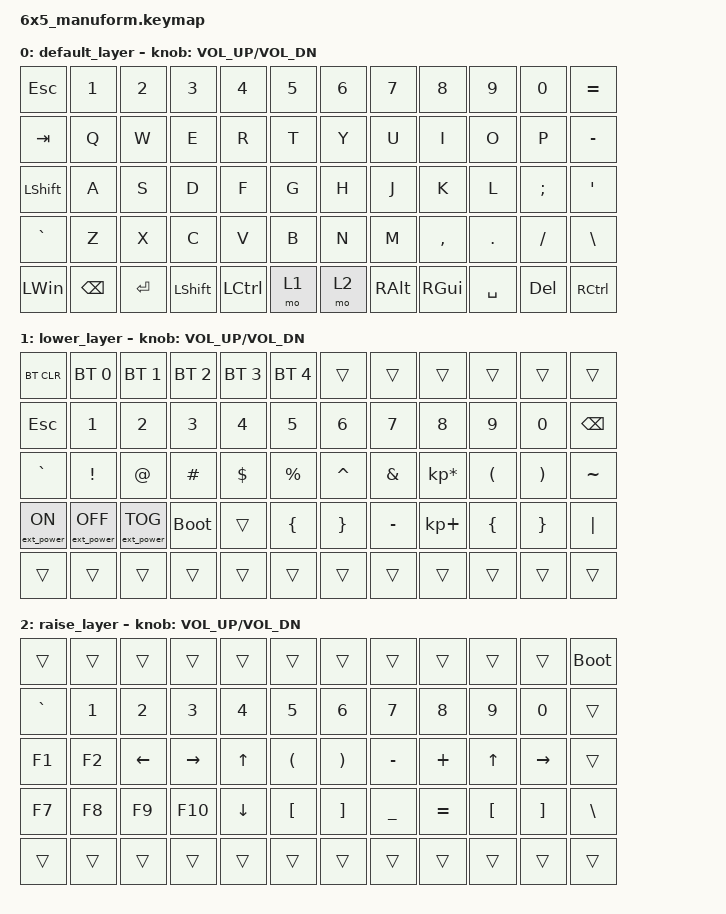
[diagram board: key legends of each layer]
/*
 * Copyright (c) 2020 The ZMK Contributors
 *
 * SPDX-License-Identifier: MIT
 */

#include <behaviors.dtsi>
#include <dt-bindings/zmk/bt.h>
#include <dt-bindings/zmk/ext_power.h>
#include <dt-bindings/zmk/keys.h>

/ {
    keymap {
        compatible = "zmk,keymap";

        default_layer {
            // ------------------------------------------------------------------------------------------------------------
            // |  ESC   |  1  |  2  |  3   |  4   |  5   |                    |  6   |  7    |  8    |  9   |   0   |   `   |
            // |  TAB   |  Q  |  W  |  E   |  R   |  T   |                    |  Y   |  U    |  I    |  O   |   P   |   -   |
            // |  CTRL  |  A  |  S  |  D   |  F   |  G   |                    |  H   |  J    |  K    |  L   |   ;   |   '   |
            // | SHIFT  |  Z  |  X  |  C   |  V   |  B   |                    |  N   |  M    |  ,    |  .   |   /   | SHIFT |
            // |    2   |  2  | f   | 6    | 4    | 1    |                    | 2    | 1     | w     | s    | n     |  a    |

            bindings = <
&kp ESC       &kp N1    &kp N2   &kp N3     &kp N4            &kp N5  &kp N6  &kp N7         &kp N8     &kp N9     &kp N0    &kp EQUAL
&kp TAB       &kp Q     &kp W    &kp E      &kp R             &kp T   &kp Y   &kp U          &kp I      &kp O      &kp P     &kp MINUS
&kp LSHFT     &kp A     &kp S    &kp D      &kp F             &kp G   &kp H   &kp J          &kp K      &kp L      &kp SEMI  &kp SQT
&kp GRAVE     &kp Z     &kp X    &kp C      &kp V             &kp B   &kp N   &kp M          &kp COMMA  &kp DOT    &kp FSLH  &kp BSLH
&kp LEFT_WIN  &kp BSPC  &kp RET  &kp LSHFT  &kp LEFT_CONTROL  &mo 1   &mo 2   &kp RIGHT_ALT  &kp RGUI   &kp SPACE  &kp DEL   &kp RCTRL
            >;

            sensor-bindings = <&inc_dec_kp C_VOL_UP C_VOL_DN>;
        };

        lower_layer {
            // ------------------------------------------------------------------------------------------------------------
            // | BTCLR | BT1 | BT2 |  BT3 |  BT4 |  BT5 |                   |      |       |       |      |       |       |
            // |  F1   |  F2 |  F3 |  F4  |  F5  |  F6  |                   |  F7  |  F8   |  F9   |  F10 |  F11  |  F12  |
            // |   `   |  !  |  @  |  #   |  $   |  %   |                   |  ^   |  &    |  *    |  (   |   )   |   ~   |
            // |       |     |     |      |      |      |                   |      |  _    |  +    |  {   |   }   |  "|"  |
            // |       |     |     |      |      |      |                   |      |       |       |      |       |       |

            bindings = <
&bt BT_CLR        &bt BT_SEL 0       &bt BT_SEL 1       &bt BT_SEL 2  &bt BT_SEL 3  &bt BT_SEL 4    &trans           &trans     &trans           &trans    &trans    &trans
&kp ESCAPE        &kp NUMBER_1       &kp NUMBER_2       &kp NUMBER_3  &kp NUMBER_4  &kp N5          &kp NUMBER_6     &kp N7     &kp N8           &kp N9    &kp N0    &kp BACKSPACE
&kp GRAVE         &kp EXCL           &kp AT             &kp HASH      &kp DOLLAR    &kp PRCNT       &kp CARET        &kp AMPS   &kp KP_MULTIPLY  &kp LPAR  &kp RPAR  &kp TILDE
&ext_power EP_ON  &ext_power EP_OFF  &ext_power EP_TOG  &bootloader   &trans        &kp LEFT_BRACE  &kp RIGHT_BRACE  &kp MINUS  &kp KP_PLUS      &kp LBRC  &kp RBRC  &kp PIPE
&trans            &trans             &trans             &trans        &trans        &trans          &trans           &trans     &trans           &trans    &trans    &trans
            >;

            sensor-bindings = <&inc_dec_kp C_VOL_UP C_VOL_DN>;
        };

        raise_layer {
            // ------------------------------------------------------------------------------------------------------------
            // |       |     |     |      |      |      |                   |      |       |       |      |       |       |
            // |   `   |  1  |  2  |  3   |  4   |  5   |                   |  6   |   7   |   8   |  9   |   0   |       |
            // |   F1  |  F2 |  F3 |  F4  |  F5  |  F6  |                   |      |   <-  |   v   |  ^   |  ->   |       |
            // |   F7  |  F8 |  F9 |  F10 |  F11 |  F12 |		             |  +   |   -   |   =   |  [   |   ]   |   \   |
            // |     |     |      |      |      |        |                   |       |      |       |       |      |       |

            bindings = <
&trans     &trans  &trans          &trans           &trans          &trans                &trans                 &trans          &trans     &trans    &trans     &bootloader
&kp GRAVE  &kp N1  &kp N2          &kp N3           &kp N4          &kp N5                &kp N6                 &kp N7          &kp N8     &kp N9    &kp N0     &trans
&kp F1     &kp F2  &kp LEFT_ARROW  &kp RIGHT_ARROW  &kp UP_ARROW    &kp LEFT_PARENTHESIS  &kp RIGHT_PARENTHESIS  &kp MINUS       &kp PLUS   &kp UP    &kp RIGHT  &trans
&kp F7     &kp F8  &kp F9          &kp F10          &kp DOWN_ARROW  &kp LEFT_BRACKET      &kp RIGHT_BRACKET      &kp UNDERSCORE  &kp EQUAL  &kp LBKT  &kp RBKT   &kp BSLH
&trans     &trans  &trans          &trans           &trans          &trans                &trans                 &trans          &trans     &trans    &trans     &trans
            >;

            sensor-bindings = <&inc_dec_kp C_VOL_UP C_VOL_DN>;
        };
    };
};
